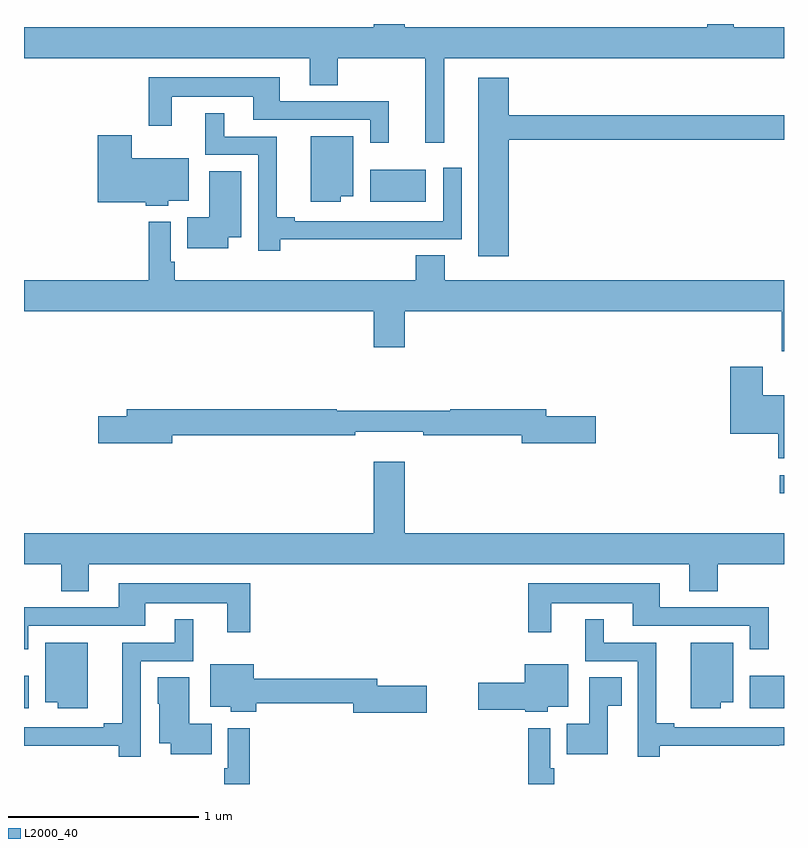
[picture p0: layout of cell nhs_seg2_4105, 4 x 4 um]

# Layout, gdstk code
import gdstk
lib = gdstk.Library(unit=1e-6, precision=1e-09)
def R(c, l, rs):  # rectangles x0, y0, x1, y1
    for r in rs: c.add(gdstk.rectangle(r[:2], r[2:], *l))
def P(c, l, *ps):  # polygons
    for p in ps: c.add(gdstk.Polygon(p, *l))
L2000_40 = (2000, 40)

nhs_seg2_4105 = lib.new_cell('nhs_seg2_4105')
R(nhs_seg2_4105, L2000_40, [(331,660.2,331.024,660.37), (334.82,660.2,335,660.37), (334.977,661.329,335,661.425), (332.822,662.864,333.115,663.034)])
P(nhs_seg2_4105, L2000_40, [(333.212,663.62),(335,663.62),(335,663.784),(334.735,663.784),(334.735,663.8),(334.595,663.8),(334.595,663.784),(333.004,663.784),(333.004,663.8),(332.84,663.8),(332.84,663.784),(331,663.784),(331,663.62),(332.504,663.62),(332.504,663.478),(332.652,663.478),(332.652,663.62),(333.113,663.62),(333.113,663.174),(333.212,663.174)],
  [(332.921,663.393),(332.347,663.393),(332.347,663.52),(331.656,663.52),(331.656,663.264),(331.777,663.264),(331.777,663.416),(332.207,663.416),(332.207,663.297),(332.823,663.297),(332.823,663.174),(332.921,663.174)],
  [(333.551,663.19),(335,663.19),(335,663.319),(333.551,663.319),(333.551,663.517),(333.392,663.517),(333.392,662.577),(333.551,662.577)],
  [(332.348,662.666),(332.978,662.666),(332.978,662.667),(333.303,662.667),(333.303,663.043),(333.207,663.043),(333.207,662.763),(332.425,662.763),(332.425,662.783),(332.33,662.783),(332.33,663.207),(332.053,663.207),(332.053,663.331),(331.955,663.331),(331.955,663.111),(332.232,663.111),(332.232,662.607),(332.348,662.607)],
  [(331.758,662.87),(331.867,662.87),(331.867,663.094),(331.566,663.094),(331.566,663.214),(331.388,663.214),(331.388,662.861),(331.641,662.861),(331.641,662.843),(331.758,662.843)],
  [(332.668,662.894),(332.734,662.894),(332.734,663.208),(332.51,663.208),(332.51,662.864),(332.668,662.864)],
  [(332.074,662.678),(332.143,662.678),(332.143,663.026),(331.976,663.026),(331.976,662.782),(331.858,662.782),(331.858,662.621),(332.074,662.621)],
  [(335,662.452),(333.214,662.452),(333.214,662.582),(333.062,662.582),(333.062,662.452),(331.793,662.452),(331.793,662.548),(331.773,662.548),(331.773,662.758),(331.657,662.758),(331.657,662.452),(331,662.452),(331,662.288),(332.84,662.288),(332.84,662.1),(333.004,662.1),(333.004,662.288),(334.987,662.288),(334.987,662.077),(335,662.077)],
  [(335,661.846),(334.888,661.846),(334.888,661.996),(334.718,661.996),(334.718,661.643),(334.97,661.643),(334.97,661.514),(335,661.514)],
  [(331.78,661.636),(332.744,661.636),(332.744,661.655),(333.1,661.655),(333.1,661.636),(333.62,661.636),(333.62,661.594),(334.009,661.594),(334.009,661.736),(333.748,661.736),(333.748,661.772),(333.244,661.772),(333.244,661.765),(332.645,661.765),(332.645,661.772),(331.541,661.772),(331.541,661.736),(331.392,661.736),(331.392,661.594),(331.78,661.594)],
  [(331.342,660.956),(334.502,660.956),(334.502,660.814),(334.65,660.814),(334.65,660.956),(335,660.956),(335,661.12),(333.004,661.12),(333.004,661.495),(332.84,661.495),(332.84,661.12),(331,661.12),(331,660.956),(331.195,660.956),(331.195,660.814),(331.342,660.814)],
  [(331.023,660.633),(331.639,660.633),(331.639,660.752),(332.069,660.752),(332.069,660.6),(332.191,660.6),(332.191,660.856),(331.499,660.856),(331.499,660.729),(331,660.729),(331,660.51),(331.023,660.51)],
  [(334.919,660.729),(334.345,660.729),(334.345,660.856),(333.654,660.856),(333.654,660.6),(333.775,660.6),(333.775,660.752),(334.205,660.752),(334.205,660.633),(334.821,660.633),(334.821,660.51),(334.919,660.51)],
  [(334.346,660.002),(334.976,660.002),(334.976,660.003),(335,660.003),(335,660.099),(334.423,660.099),(334.423,660.119),(334.328,660.119),(334.328,660.543),(334.051,660.543),(334.051,660.667),(333.953,660.667),(333.953,660.447),(334.23,660.447),(334.23,659.943),(334.346,659.943)],
  [(331.614,660.447),(331.891,660.447),(331.891,660.667),(331.793,660.667),(331.793,660.543),(331.517,660.543),(331.517,660.119),(331.421,660.119),(331.421,660.099),(331,660.099),(331,660.002),(331.498,660.002),(331.498,659.943),(331.614,659.943)],
  [(334.666,660.23),(334.732,660.23),(334.732,660.544),(334.508,660.544),(334.508,660.2),(334.666,660.2)],
  [(331.336,660.544),(331.112,660.544),(331.112,660.23),(331.178,660.23),(331.178,660.2),(331.336,660.2)],
  [(333.756,660.206),(333.865,660.206),(333.865,660.43),(333.635,660.43),(333.635,660.332),(333.39,660.332),(333.39,660.19),(333.639,660.19),(333.639,660.179),(333.756,660.179)],
  [(333.121,660.317),(332.86,660.317),(332.86,660.353),(332.209,660.353),(332.209,660.43),(331.979,660.43),(331.979,660.206),(332.088,660.206),(332.088,660.179),(332.222,660.179),(332.222,660.225),(332.732,660.225),(332.732,660.175),(333.121,660.175)],
  [(334.072,660.211),(334.145,660.211),(334.145,660.362),(333.975,660.362),(333.975,660.118),(333.856,660.118),(333.856,659.957),(334.072,659.957)],
  [(331.988,660.118),(331.87,660.118),(331.87,660.362),(331.703,660.362),(331.703,660.222),(331.712,660.222),(331.712,660.014),(331.772,660.014),(331.772,659.957),(331.988,659.957)],
  [(333.791,659.884),(333.771,659.884),(333.771,660.094),(333.655,660.094),(333.655,659.8),(333.791,659.8)],
  [(332.189,660.094),(332.073,660.094),(332.073,659.884),(332.053,659.884),(332.053,659.8),(332.189,659.8)])

lib.write_gds('nhs_seg2_4105.gds')
